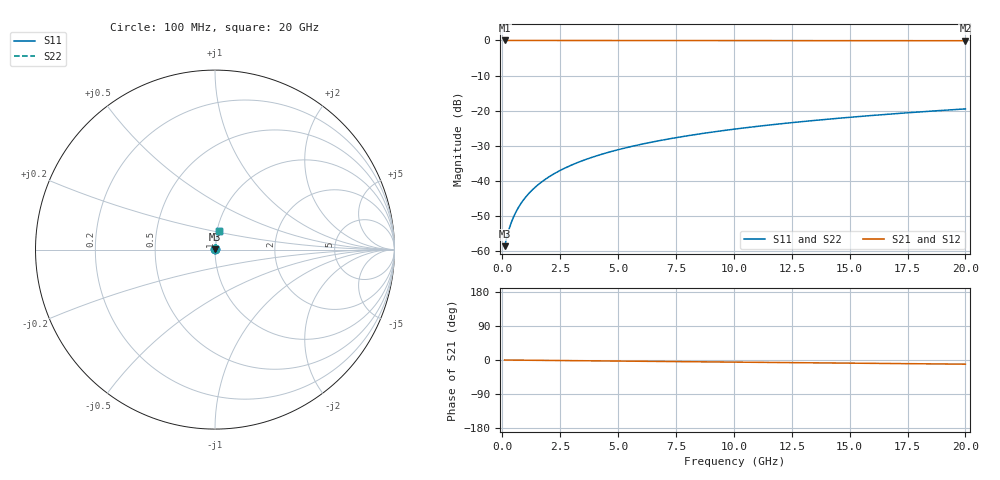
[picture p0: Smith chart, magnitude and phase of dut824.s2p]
! Touchstone file exported from HFSS 2026.1.0
!  File:  C:/ffzhzh/LocalFiles/Ansys_Project_Files/temp_train_TMRDL_824_1783156521_51560.aedt
!  Generated:  05:16:32 PM Jul  4, 2026
!  Design:  TMRDL
!  Project:  temp_train_TMRDL_824_1783156521_51560
! Variables:
!  h_bsmrdl = 2um
!  h_ox = 20um
!  h_rdl = 5um
!  h_sub = 80um
!  h_tmrdl = 3.8um
!  h_tsv = 80um
!  h_via = 3um
!  l_bsmrdl = 300um
!  l_sub = 540.88um
!  l_tmrdl = 140.88um
!  m_sub = 200um
!  pitch = 33.83um
!  r_tsv = 6um
!  s_tmrdl = 10um
!  w_bsmrdl = 18um
!  w_sub = 500um
!  w_tmrdl = 16.05um
!  x_tsv_center1 = 148.905um
!  x_tsv_center2 = 466.905um
!  x_tsv_center3 = 623.835um
!  x_tsv_center4 = 941.835um
!  x_tsv_center5 = 1098.765um
!  x_tsv_center6 = 1416.765um
# GHz S MA R 50.000000
! Terminal data exported
! Port[1] = TM_RDL1_1_T1
! Port[2] = TM_RDL1_1_T2
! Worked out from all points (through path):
!   200 points, 100 MHz to 20 GHz, reference 50 ohm
!   highest |S21| = -0.01 dB at 100 MHz (marker M1); lowest = -0.1 dB at 20 GHz (marker M2)
!   group delay of S21, straight-line fit = 1.53 ps
!   lowest |S11| = -58.6 dB at 100 MHz (marker M3), VSWR 1.00, Z = 50.1 + j0.0615 ohm
!   |S11| at or under -10 dB: start of sweep to end of sweep
!   |S22| runs from -58.6 to -19.5 dB; largest |S21 - S12| = 4e-15
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0.1  0.001171 31.6  0.999 -0.1  0.999 -0.1  0.001171 31.6
! Gamma 0 0 0 0
! Port Impedance 50 0 50 0
0.2  0.001591 49.5  0.999 -0.1  0.999 -0.1  0.001591 49.5
0.3  0.002087 59.0  0.9989 -0.2  0.9989 -0.2  0.002087 59.0
0.4  0.002603 64.7  0.9989 -0.2  0.9989 -0.2  0.002603 64.7
0.5  0.003127 68.5  0.9989 -0.3  0.9989 -0.3  0.003127 68.5
0.6  0.003655 71.2  0.9988 -0.3  0.9988 -0.3  0.003655 71.2
0.8  0.004724 74.9  0.9988 -0.5  0.9988 -0.5  0.004724 74.9
1.1  0.006349 78.2  0.9988 -0.6  0.9988 -0.6  0.006349 78.2
1.3  0.007442 79.6  0.9987 -0.7  0.9987 -0.7  0.007442 79.6
1.6  0.009089 81.0  0.9987 -0.9  0.9987 -0.9  0.009089 81.0
2.1  0.01184 82.3  0.9986 -1.2  0.9986 -1.2  0.01184 82.3
2.7  0.01515 83.1  0.9985 -1.5  0.9985 -1.5  0.01515 83.1
3.5  0.01955 83.5  0.9983 -2.0  0.9983 -2.0  0.01955 83.5
4.2  0.02338 83.5  0.998 -2.4  0.998 -2.4  0.02338 83.5
5  0.02773 83.4  0.9978 -2.8  0.9978 -2.8  0.02773 83.4
5.9  0.03259 83.1  0.9975 -3.3  0.9975 -3.3  0.03259 83.1
6.8  0.03742 82.8  0.9971 -3.8  0.9971 -3.8  0.03742 82.8
8.3  0.0454 82.2  0.9965 -4.6  0.9965 -4.6  0.0454 82.2
10.1  0.05488 81.4  0.9957 -5.6  0.9957 -5.6  0.05488 81.4
13.4  0.07205 79.9  0.9941 -7.4  0.9941 -7.4  0.07205 79.9
16.7  0.08902 78.3  0.9922 -9.2  0.9922 -9.2  0.08902 78.3
20  0.1058 76.7  0.9902 -11.0  0.9902 -11.0  0.1058 76.7
